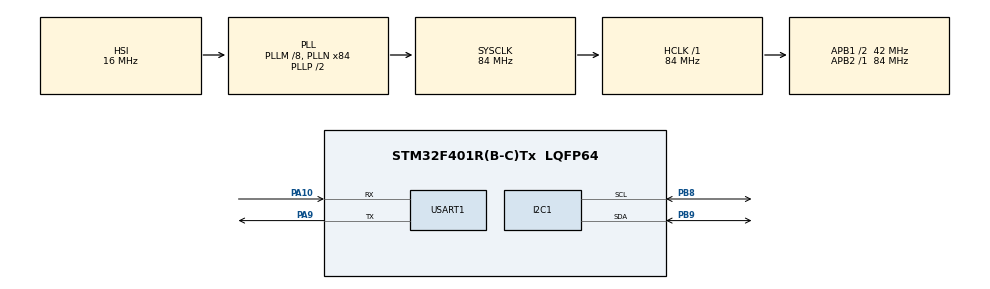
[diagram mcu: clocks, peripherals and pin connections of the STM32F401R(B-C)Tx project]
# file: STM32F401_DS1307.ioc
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Mcu.Family=STM32F4
Mcu.Name=STM32F401R(B-C)Tx
Mcu.Package=LQFP64
NVIC.PriorityGroup=NVIC_PRIORITYGROUP_4
PA10.Mode=Asynchronous
PA10.Signal=USART1_RX
PA13.Mode=Serial_Wire
PA13.Signal=SYS_JTMS-SWDIO
PA14.Mode=Serial_Wire
PA14.Signal=SYS_JTCK-SWCLK
PA9.Mode=Asynchronous
PA9.Signal=USART1_TX
PB8.Mode=I2C
PB8.Signal=I2C1_SCL
PB9.Mode=I2C
PB9.Signal=I2C1_SDA
PH0\ -\ OSC_IN.Mode=HSE-External-Oscillator
PH0\ -\ OSC_IN.Signal=RCC_OSC_IN
PH1\ -\ OSC_OUT.Mode=HSE-External-Oscillator
PH1\ -\ OSC_OUT.Signal=RCC_OSC_OUT
ProjectManager.HeapSize=0x200
ProjectManager.StackSize=0x400
ProjectManager.TargetToolchain=MDK-ARM V5.32
RCC.48MHZClocksFreq_Value=42000000
RCC.AHBFreq_Value=84000000
RCC.APB1CLKDivider=RCC_HCLK_DIV2
RCC.APB1Freq_Value=42000000
RCC.APB1TimFreq_Value=84000000
RCC.APB2Freq_Value=84000000
RCC.APB2TimFreq_Value=84000000
RCC.CortexFreq_Value=84000000
RCC.HCLKFreq_Value=84000000
RCC.HSE_VALUE=25000000
RCC.HSI_VALUE=16000000
RCC.LSE_VALUE=32768
RCC.LockedElements=AHBOutput
RCC.PLLM=8
RCC.PLLN=84
RCC.SYSCLKFreq_VALUE=84000000
RCC.SYSCLKSource=RCC_SYSCLKSOURCE_PLLCLK
RCC.VCOOutputFreq_Value=168000000
USART1.VirtualMode=VM_ASYNC
board=custom

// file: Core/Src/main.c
/* USER CODE BEGIN Header */
/**
  ******************************************************************************
  * @file           : main.c
  * @brief          : Main program body
  ******************************************************************************
  * @attention
  *
  * Copyright (c) 2023 STMicroelectronics.
  * All rights reserved.
  *
  * This software is licensed under terms that can be found in the LICENSE file
  * in the root directory of this software component.
  * If no LICENSE file comes with this software, it is provided AS-IS.
  *
  ******************************************************************************
  */
/* USER CODE END Header */
#include "main.h"
#include "i2c.h"
#include "usart.h"
#include "gpio.h"

/* USER CODE BEGIN Includes */
#include "stdio.h"
#include "ds1307_for_stm32_hal.h"
#include <string.h>
/* USER CODE END Includes */

void SystemClock_Config(void);

int main(void)
{
  /* USER CODE BEGIN 1 */
    const char *DAYS_OF_WEEK[7] = { "Sunday", "Monday", "Tuesday", "Wednesday", "Thursday", "Friday", "Saturday" };
  /* USER CODE END 1 */

  /* MCU Configuration--------------------------------------------------------*/

  /* Reset of all peripherals, Initializes the Flash interface and the Systick. */
  HAL_Init();

  /* Configure the system clock */
  SystemClock_Config();

  /* Initialize all configured peripherals */
  MX_GPIO_Init();
  MX_I2C1_Init();
  MX_USART1_UART_Init();
  /* USER CODE BEGIN 2 */
    DS1307_Init(&hi2c1);
//	DS1307_SetTimeZone(+8, 00);
//	DS1307_SetDate(31);
//	DS1307_SetMonth(3);
//	DS1307_SetYear(2023);
//	DS1307_SetDayOfWeek(5);
//	DS1307_SetHour(11);
//	DS1307_SetMinute(40);
//	DS1307_SetSecond(30);

    uint32_t TimerUART = HAL_GetTick();
  /* USER CODE END 2 */

  /* Infinite loop */
    while (1)
    {

    /* USER CODE BEGIN 3 */
        if ((HAL_GetTick() - TimerUART) > 1000)
        {

            uint8_t date = DS1307_GetDate();
            uint8_t month = DS1307_GetMonth();
            uint16_t year = DS1307_GetYear();
            uint8_t dow = DS1307_GetDayOfWeek();
            uint8_t hour = DS1307_GetHour();
            uint8_t minute = DS1307_GetMinute();
            uint8_t second = DS1307_GetSecond();
            int8_t zone_hr = DS1307_GetTimeZoneHour();
            uint8_t zone_min = DS1307_GetTimeZoneMin();
            char buffer[100] = { 0 };
//            sprintf(buffer, "ISO8601 FORMAT: 22%02d-%02d-%02d T%02d:%02d:%02d%+03d:%02d  %s\r\n",
//                    year, month, date, hour, minute, second, zone_hr, zone_min, DAYS_OF_WEEK[dow]);
//            HAL_UART_Transmit(&huart1, buffer, strlen(buffer), 1000);
						printf("Time:20%02d-%02d-%02d\t%02d:%02d:%02d %s\r\n",year-8800, month, date, hour, minute, second, DAYS_OF_WEEK[dow]);
            TimerUART = HAL_GetTick();
        }
    }
  /* USER CODE END 3 */
}

void SystemClock_Config(void)
{
  RCC_OscInitTypeDef RCC_OscInitStruct = {0};
  RCC_ClkInitTypeDef RCC_ClkInitStruct = {0};

  /** Configure the main internal regulator output voltage
  */
  __HAL_RCC_PWR_CLK_ENABLE();
  __HAL_PWR_VOLTAGESCALING_CONFIG(PWR_REGULATOR_VOLTAGE_SCALE2);

  /** Initializes the RCC Oscillators according to the specified parameters
  * in the RCC_OscInitTypeDef structure.
  */
  RCC_OscInitStruct.OscillatorType = RCC_OSCILLATORTYPE_HSI;
  RCC_OscInitStruct.HSIState = RCC_HSI_ON;
  RCC_OscInitStruct.HSICalibrationValue = RCC_HSICALIBRATION_DEFAULT;
  RCC_OscInitStruct.PLL.PLLState = RCC_PLL_ON;
  RCC_OscInitStruct.PLL.PLLSource = RCC_PLLSOURCE_HSI;
  RCC_OscInitStruct.PLL.PLLM = 8;
  RCC_OscInitStruct.PLL.PLLN = 84;
  RCC_OscInitStruct.PLL.PLLP = RCC_PLLP_DIV2;
  RCC_OscInitStruct.PLL.PLLQ = 4;
  if (HAL_RCC_OscConfig(&RCC_OscInitStruct) != HAL_OK)
  {
    Error_Handler();
  }

  /** Initializes the CPU, AHB and APB buses clocks
  */
  RCC_ClkInitStruct.ClockType = RCC_CLOCKTYPE_HCLK|RCC_CLOCKTYPE_SYSCLK
                              |RCC_CLOCKTYPE_PCLK1|RCC_CLOCKTYPE_PCLK2;
  RCC_ClkInitStruct.SYSCLKSource = RCC_SYSCLKSOURCE_PLLCLK;
  RCC_ClkInitStruct.AHBCLKDivider = RCC_SYSCLK_DIV1;
  RCC_ClkInitStruct.APB1CLKDivider = RCC_HCLK_DIV2;
  RCC_ClkInitStruct.APB2CLKDivider = RCC_HCLK_DIV1;

  if (HAL_RCC_ClockConfig(&RCC_ClkInitStruct, FLASH_LATENCY_2) != HAL_OK)
  {
    Error_Handler();
  }
}

void Error_Handler(void)
{
    __disable_irq();
    while (1)
    {
    }
}
